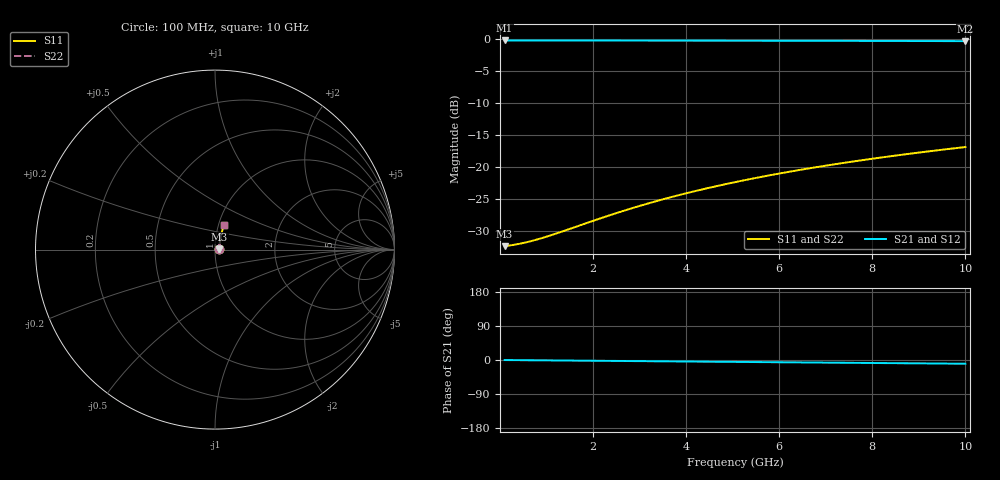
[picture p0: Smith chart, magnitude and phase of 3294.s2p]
# Hz S RI R 50.00
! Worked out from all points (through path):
!   100 points, 100 MHz to 10 GHz, reference 50 ohm
!   highest |S21| = -0.21 dB at 100 MHz (marker M1); lowest = -0.3 dB at 10 GHz (marker M2)
!   group delay of S21, straight-line fit = 2.73 ps
!   lowest |S11| = -32.4 dB at 100 MHz (marker M3), VSWR 1.05, Z = 52.5 + j0.145 ohm
!   |S11| at or under -10 dB: start of sweep to end of sweep
!   |S22| runs from -32.4 to -16.9 dB; largest |S21 - S12| = 0
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1e8  0.024 0.00138  0.976 -0.00169  0.976 -0.00169  0.024 0.00138
4e8  0.0244 0.00553  0.9756 -0.00674  0.9756 -0.00674  0.0244 0.00553
6e8  0.0246 0.0083  0.9754 -0.0101  0.9754 -0.0101  0.0246 0.0083
8e8  0.0248 0.0111  0.9752 -0.0135  0.9752 -0.0135  0.0248 0.0111
1e9  0.0249 0.0138  0.975 -0.0168  0.975 -0.0168  0.0249 0.0138
1.2e9  0.0251 0.0166  0.9749 -0.0202  0.9749 -0.0202  0.0251 0.0166
1.8e9  0.0258 0.0248  0.9742 -0.0303  0.9742 -0.0303  0.0258 0.0248
2.2e9  0.0263 0.0304  0.9737 -0.037  0.9737 -0.037  0.0263 0.0304
2.6e9  0.0268 0.0358  0.9732 -0.0437  0.9732 -0.0437  0.0268 0.0358
3e9  0.0274 0.0413  0.9725 -0.0504  0.9725 -0.0504  0.0274 0.0413
3.4e9  0.0281 0.0468  0.9718 -0.0571  0.9718 -0.0571  0.0281 0.0468
3.8e9  0.0288 0.0523  0.9711 -0.0638  0.9711 -0.0638  0.0288 0.0523
4.2e9  0.0297 0.0577  0.9702 -0.0704  0.9702 -0.0704  0.0297 0.0577
4.6e9  0.0306 0.0631  0.9693 -0.0771  0.9693 -0.0771  0.0306 0.0631
5.1e9  0.0318 0.0699  0.9681 -0.0854  0.9681 -0.0854  0.0318 0.0699
5.5e9  0.0328 0.0753  0.967 -0.092  0.967 -0.092  0.0328 0.0753
5.9e9  0.0339 0.0807  0.9659 -0.0986  0.9659 -0.0986  0.0339 0.0807
6.7e9  0.0364 0.0914  0.9634 -0.1117  0.9634 -0.1117  0.0364 0.0914
7.5e9  0.0391 0.102  0.9606 -0.1247  0.9606 -0.1247  0.0391 0.102
8.4e9  0.0426 0.1138  0.9571 -0.1392  0.9571 -0.1392  0.0426 0.1138
9.2e9  0.0459 0.1241  0.9537 -0.1521  0.9537 -0.1521  0.0459 0.1241
1e10  0.0495 0.1344  0.95 -0.1648  0.95 -0.1648  0.0495 0.1344
